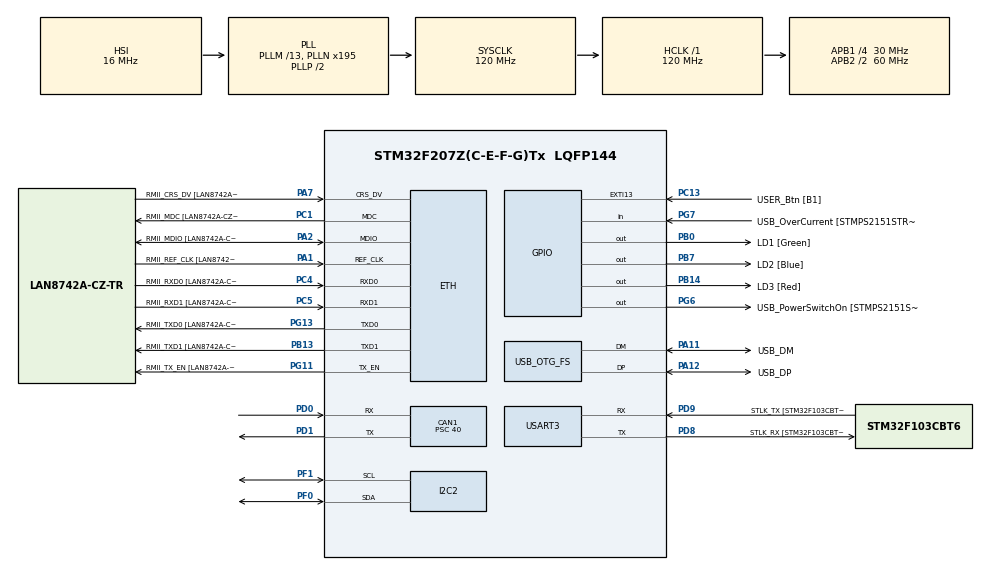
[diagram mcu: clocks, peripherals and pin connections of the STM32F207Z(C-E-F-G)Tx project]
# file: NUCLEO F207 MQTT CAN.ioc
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CAN1.BS1=CAN_BS1_12TQ
CAN1.BS2=CAN_BS2_2TQ
CAN1.CalculateBaudRate=49999
CAN1.CalculateTimeBit=20000
CAN1.CalculateTimeQuantum=1333.3333333333335
CAN1.Prescaler=40
CAN1.SJW=CAN_SJW_1TQ
ETH.MediaInterface=ETH_MEDIA_INTERFACE_RMII
ETH.PHY_Name=LAN8742A_PHY_ADDRESS
ETH.PHY_Value=0
ETH.PhyAddress=0
FREERTOS.BinarySemaphores01=BinarySemButton,Static,BinarySemButtonControlBlock;BinarySemLCD,Static,BinarySemLCDControlBlock
FREERTOS.HEAP_NUMBER=3
FREERTOS.Mutexes01=logMutex,Static,logMutexControlBlock;putMqttMutex,Static,putMqttMutexControlBlock
FREERTOS.Queues01=QueueRxCan,32,32,1,Static,QueueRxCanBuffer,QueueRxCanControlBlock;QueueTxMqtt,16,100,1,Static,QueueTxMqttBuffer,QueueTxMqttControlBlock;QueueTxCan,32,32,1,Static,QueueTxCanBuffer,QueueTxCanControlBlock
FREERTOS.Tasks01=defaultTask,24,1024,StartDefaultTask,Default,NULL,Static,defaultTaskBuffer,defaultTaskControlBlock;TaskButton,8,1024,StartTaskButton,Default,NULL,Static,TaskButtonBuffer,TaskButtonControlBlock;TaskLCD,8,1024,StartTaskLCD,Default,NULL,Static,TaskLCDBuffer,TaskLCDControlBlock;TaskCan,24,1024,StartTaskCan,Default,NULL,Static,TaskCanBuffer,TaskCanControlBlock;TaskMQTT,25,1024,StartTaskMQTT,Default,NULL,Static,TaskMQTTBuffer,TaskMQTTControlBlock
FREERTOS.configCHECK_FOR_STACK_OVERFLOW=2
FREERTOS.configGENERATE_RUN_TIME_STATS=1
FREERTOS.configMINIMAL_STACK_SIZE=1024
FREERTOS.configTIMER_TASK_STACK_DEPTH=2048
FREERTOS.configTOTAL_HEAP_SIZE=0x2000
FREERTOS.configUSE_NEWLIB_REENTRANT=1
FREERTOS.configUSE_STATS_FORMATTING_FUNCTIONS=1
IWDG.Prescaler=IWDG_PRESCALER_32
IWDG.Reload=4095
LWIP.API_LIB_DEBUG=LWIP_DBG_OFF
LWIP.API_MSG_DEBUG=LWIP_DBG_OFF
LWIP.CMSIS_VERSION-Enabled=1
LWIP.DEFAULT_ACCEPTMBOX_SIZE=12
LWIP.DEFAULT_THREAD_PRIO=24
LWIP.DEFAULT_THREAD_STACKSIZE=1024
LWIP.ETHARP_DEBUG=LWIP_DBG_OFF
LWIP.ETHARP_STATS=0
LWIP.GATEWAY_ADDRESS=192.168.001.001
LWIP.HTTPD_DEBUG=LWIP_DBG_OFF
LWIP.HTTPD_DEBUG_TIMING=LWIP_DBG_OFF
LWIP.ICMP_DEBUG=LWIP_DBG_OFF
LWIP.ICMP_STATS=0
LWIP.IGMP_DEBUG=LWIP_DBG_OFF
LWIP.INET_DEBUG=LWIP_DBG_OFF
LWIP.IPFRAG_STATS=0
LWIP.IP_ADDRESS=192.168.001.101
LWIP.IP_DEBUG=LWIP_DBG_OFF
LWIP.IP_REASS_DEBUG=LWIP_DBG_OFF
LWIP.IP_STATS=0
LWIP.LINK_STATS=0
LWIP.LWIP_DBG_MIN_LEVEL=LWIP_DBG_LEVEL_WARNING
LWIP.LWIP_DBG_TYPES_ON=LWIP_DBG_ON
LWIP.LWIP_DHCP=0
LWIP.LWIP_HTTPD=1
LWIP.LWIP_HTTPD_CGI=1
LWIP.LWIP_HTTPD_CUSTOM_FILES=0
LWIP.LWIP_HTTPD_SSI=1
LWIP.LWIP_SNTP=1
LWIP.LWIP_STATS=1
LWIP.LWIP_STATS_DISPLAY=1
LWIP.MEMP_DEBUG=LWIP_DBG_ON
LWIP.MEMP_MEM_MALLOC=0
LWIP.MEMP_NUM_SYS_TIMEOUT=13
LWIP.MEMP_NUM_TCPIP_MSG_INPKT=16
LWIP.MEMP_NUM_TCP_PCB=40
LWIP.MEMP_NUM_TCP_PCB_LISTEN=16
LWIP.MEMP_NUM_UDP_PCB=200
LWIP.MEM_DEBUG=LWIP_DBG_ON
LWIP.MEM_LIBC_MALLOC=0
LWIP.MEM_SIZE=5*1024
LWIP.NETIF_DEBUG=LWIP_DBG_OFF
LWIP.NETMASK_ADDRESS=255.255.255.000
LWIP.PBUF_DEBUG=LWIP_DBG_OFF
LWIP.RAW_DEBUG=LWIP_DBG_OFF
LWIP.RECV_BUFSIZE_DEFAULT=2147483647
LWIP.SLIPIF_THREAD_STACKSIZE=1024
LWIP.SOCKETS_DEBUG=LWIP_DBG_OFF
LWIP.SYS_DEBUG=LWIP_DBG_ON
LWIP.TCPIP_MBOX_SIZE=12
LWIP.TCPIP_THREAD_STACKSIZE=1024
LWIP.TCP_CWND_DEBUG=LWIP_DBG_OFF
LWIP.TCP_DEBUG=LWIP_DBG_OFF
LWIP.TCP_FR_DEBUG=LWIP_DBG_OFF
LWIP.TCP_INPUT_DEBUG=LWIP_DBG_OFF
LWIP.TCP_OUTPUT_DEBUG=LWIP_DBG_OFF
LWIP.TCP_RTO_DEBUG=LWIP_DBG_OFF
LWIP.TCP_WND_DEBUG=LWIP_DBG_OFF
LWIP.TIMERS_DEBUG=LWIP_DBG_OFF
LWIP.UDP_STATS=0
LWIP.Version=v2.0.3_Cube
Mcu.Family=STM32F2
Mcu.Name=STM32F207Z(C-E-F-G)Tx
Mcu.Package=LQFP144
NVIC.CAN1_RX0_IRQn=true\:5\:0\:false\:false\:true\:true\:true\:true\:true
NVIC.ETH_IRQn=true\:5\:0\:false\:false\:true\:true\:false\:true\:true
NVIC.ETH_WKUP_IRQn=true\:5\:0\:false\:false\:true\:true\:true\:true\:true
NVIC.EXTI15_10_IRQn=true\:5\:0\:false\:false\:true\:true\:true\:true\:true
NVIC.OTG_FS_IRQn=true\:5\:0\:false\:false\:true\:true\:false\:true\:true
NVIC.PriorityGroup=NVIC_PRIORITYGROUP_4
NVIC.TIM1_UP_TIM10_IRQn=true\:15\:0\:false\:false\:true\:false\:false\:true\:true
NVIC.TimeBase=TIM1_UP_TIM10_IRQn
NVIC.TimeBaseIP=TIM1
PA1.GPIO_Label=RMII_REF_CLK [LAN8742A-CZ-TR_REFCLK0]
PA1.Mode=RMII
PA1.Signal=ETH_REF_CLK
PA10.GPIO_Label=USB_ID
PA10.Signal=USB_OTG_FS_ID
PA11.GPIO_Label=USB_DM
PA11.Mode=Device_Only
PA11.Signal=USB_OTG_FS_DM
PA12.GPIO_Label=USB_DP
PA12.Mode=Device_Only
PA12.Signal=USB_OTG_FS_DP
PA13.GPIO_Label=TMS
PA13.Mode=Trace_Asynchronous_SW
PA13.Signal=SYS_JTMS-SWDIO
PA14.GPIO_Label=TCK
PA14.Mode=Trace_Asynchronous_SW
PA14.Signal=SYS_JTCK-SWCLK
PA2.GPIO_Label=RMII_MDIO [LAN8742A-CZ-TR_MDIO]
PA2.Mode=RMII
PA2.Signal=ETH_MDIO
PA7.GPIO_Label=RMII_CRS_DV [LAN8742A-CZ-TR_CRS_DV]
PA7.Mode=RMII
PA7.Signal=ETH_CRS_DV
PA8.GPIO_Label=USB_SOF [TP1]
PA8.Signal=USB_OTG_FS_SOF
PA9.GPIO_Label=USB_VBUS
PA9.Signal=USB_OTG_FS_VBUS
PB0.GPIO_Label=LD1 [Green]
PB0.Signal=GPIO_Output
PB13.GPIO_Label=RMII_TXD1 [LAN8742A-CZ-TR_TXD1]
PB13.Mode=RMII
PB13.Signal=ETH_TXD1
PB14.GPIO_Label=LD3 [Red]
PB14.GPIO_PuPd=GPIO_PULLUP
PB14.Signal=GPIO_Output
PB3.GPIO_Label=SWO
PB3.Mode=Trace_Asynchronous_SW
PB3.Signal=SYS_JTDO-SWO
PB7.GPIO_Label=LD2 [Blue]
PB7.GPIO_PuPd=GPIO_PULLUP
PB7.Signal=GPIO_Output
PC1.GPIO_Label=RMII_MDC [LAN8742A-CZ-TR_MDC]
PC1.Mode=RMII
PC1.Signal=ETH_MDC
PC13.GPIO_Label=USER_Btn [B1]
PC13.GPIO_ModeDefaultEXTI=GPIO_MODE_IT_RISING
PC13.Signal=GPXTI13
PC14-OSC32_IN.Mode=LSE-External-Oscillator
PC14-OSC32_IN.Signal=RCC_OSC32_IN
PC15-OSC32_OUT.Mode=LSE-External-Oscillator
PC15-OSC32_OUT.Signal=RCC_OSC32_OUT
PC4.GPIO_Label=RMII_RXD0 [LAN8742A-CZ-TR_RXD0]
PC4.Mode=RMII
PC4.Signal=ETH_RXD0
PC5.GPIO_Label=RMII_RXD1 [LAN8742A-CZ-TR_RXD1]
PC5.Mode=RMII
PC5.Signal=ETH_RXD1
PD0.GPIO_PuPd=GPIO_NOPULL
PD0.Mode=CAN_Activate
PD0.Signal=CAN1_RX
PD1.GPIO_PuPd=GPIO_NOPULL
PD1.Mode=CAN_Activate
PD1.Signal=CAN1_TX
PD8.GPIO_Label=STLK_RX [STM32F103CBT6_PA3]
PD8.Mode=Asynchronous
PD8.Signal=USART3_TX
PD9.GPIO_Label=STLK_TX [STM32F103CBT6_PA2]
PD9.Mode=Asynchronous
PD9.Signal=USART3_RX
PF0.GPIO_Pu=GPIO_PULLUP
PF0.Mode=I2C
PF0.Signal=I2C2_SDA
PF1.GPIO_Pu=GPIO_PULLUP
PF1.Mode=I2C
PF1.Signal=I2C2_SCL
PG11.GPIO_Label=RMII_TX_EN [LAN8742A-CZ-TR_TXEN]
PG11.Mode=RMII
PG11.Signal=ETH_TX_EN
PG13.GPIO_Label=RMII_TXD0 [LAN8742A-CZ-TR_TXD0]
PG13.Mode=RMII
PG13.Signal=ETH_TXD0
PG6.GPIO_Label=USB_PowerSwitchOn [STMPS2151STR_EN]
PG6.Signal=GPIO_Output
PG7.GPIO_Label=USB_OverCurrent [STMPS2151STR_FAULT]
PG7.Signal=GPIO_Input
PH0-OSC_IN.GPIO_Label=MCO [STM32F103CBT6_PA8]
PH0-OSC_IN.Mode=HSE-External-Clock-Source
PH0-OSC_IN.Signal=RCC_OSC_IN
PH1-OSC_OUT.Mode=HSE-External-Clock-Source
PH1-OSC_OUT.Signal=RCC_OSC_OUT
ProjectManager.HeapSize=0x2000
ProjectManager.StackSize=0x4000
ProjectManager.TargetToolchain=STM32CubeIDE
RCC.48MHZClocksFreq_Value=48000000
RCC.AHBFreq_Value=120000000
RCC.APB1CLKDivider=RCC_HCLK_DIV4
RCC.APB1Freq_Value=30000000
RCC.APB1TimFreq_Value=60000000
RCC.APB2CLKDivider=RCC_HCLK_DIV2
RCC.APB2Freq_Value=60000000
RCC.APB2TimFreq_Value=120000000
RCC.CortexFreq_Value=120000000
RCC.HCLKFreq_Value=120000000
RCC.HSE_VALUE=8000000
RCC.HSI_VALUE=16000000
RCC.PLLM=13
RCC.PLLMUL=RCC_PLL_MUL9
RCC.PLLN=195
RCC.PLLQ=5
RCC.PRESCALERUSB=RCC_USBCLKSOURCE_PLL_DIV1_5
RCC.SYSCLKFreq_VALUE=120000000
RCC.SYSCLKSource=RCC_SYSCLKSOURCE_PLLCLK
RCC.SYSCLKSourceVirtual=RCC_SYSCLKSOURCE_PLLCLK
RCC.USBFreq_Value=48000000
RCC.VCOOutputFreq_Value=240000000
USART3.VirtualMode=VM_ASYNC
USB_DEVICE.CLASS_NAME_FS=CDC
USB_DEVICE.PRODUCT_STRING_CDC_FS=STM32F207 Virtual ComPort
USB_DEVICE.USBD_DEBUG_LEVEL-CDC_FS=3
USB_DEVICE.VirtualMode-CDC_FS=Cdc
USB_DEVICE.VirtualModeFS=Cdc_FS
USB_OTG_FS.VirtualMode=Device_Only
VP_FREERTOS_VS_CMSIS_V2.Mode=CMSIS_V2
VP_IWDG_VS_IWDG.Mode=IWDG_Activate
VP_LWIP_VS_Enabled.Mode=Enabled
VP_SYS_VS_tim1.Mode=TIM1
VP_USB_DEVICE_VS_USB_DEVICE_CDC_FS.Mode=CDC_FS
board=NUCLEO-F207ZG

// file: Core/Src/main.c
/* USER CODE BEGIN Header */
/**
  ******************************************************************************
  * @file           : main.c
  * @brief          : Main program body
  ******************************************************************************
  * @attention
  *
  * <h2><center>&copy; Copyright (c) 2021 STMicroelectronics.
  * All rights reserved.</center></h2>
  *
  * This software component is licensed by ST under BSD 3-Clause license,
  * the "License"; You may not use this file except in compliance with the
  * License. You may obtain a copy of the License at:
  *                        opensource.org/licenses/BSD-3-Clause
  *
  ******************************************************************************
  *  Kalkulator tme quantum
  *  http://www.bittiming.can-wiki.info/
  ******************************************************************************
  */

/* Projekt się zawiesza po pewnym czasie nawet po kilunastu minutach wyskakuje do HardFault_Handler
 *
 * 10.05.2022 10:00 wykomentowane operacje lwip , httpd, mqtt, can, lcd i jest ok działa już 8000 sec ponad dwie godziny.
 * 10.05.2022 13:00 uruchomiono lcd, jest ok 6700 sec
 * 10.05.2022 13:00 uruchamiam can
 *
 *
 *
 */

//#define LWIP_PLATFORM_DIAG(message) printf(message)

//#define LWIP_DEBUG                      1
//#define MQTT_DEBUG											1

//#define LWIP_DBG_TYPES_ON    (LWIP_DBG_ON | LWIP_DBG_TRACE)

/* USER CODE END Header */
#include "main.h"
#include "cmsis_os.h"
#include "can.h"
#include "i2c.h"
#include "iwdg.h"
#include "lwip.h"
#include "usart.h"
#include "usb_device.h"
#include "gpio.h"

/* USER CODE BEGIN Includes */

#include "usbd_cdc_if.h"

/* USER CODE END Includes */

void SystemClock_Config(void);
void MX_FREERTOS_Init(void);

/* USER CODE BEGIN 0 */

// Zeby otwierał się USB wirtual com
// https://stackoverflow.com/questions/56490843/what-is-issue-with-stm32-virtual-com-port-i-can-not-open-it

/*
void send_char(char c)
{
	HAL_UART_Transmit(&huart3, (uint8_t*)&c, 1, 1000);
}

int __io_putchar(int c)
{
	send_char(c);
	return c;
}
*/

/*
int __io_putchar(int ch)
{
   CDC_Transmit_FS(ch,  1);
	 return ch;
}
*/

int _write(int file,char *ptr, int len)
{
	int DataIdx;
  CDC_Transmit_FS(ptr,  len);
	for(DataIdx= 0; DataIdx< len; DataIdx++)
	{
   //__io_putchar(*ptr++);
		ITM_SendChar(*ptr++);
	}
	return len;
}

/* USER CODE END 0 */

int main(void)
{

  /* MCU Configuration--------------------------------------------------------*/

  /* Reset of all peripherals, Initializes the Flash interface and the Systick. */
  HAL_Init();

  /* Configure the system clock */
  SystemClock_Config();

  /* USER CODE BEGIN SysInit */

	set_stime();

  /* USER CODE END SysInit */

  /* Initialize all configured peripherals */
  MX_GPIO_Init();
  MX_USART3_UART_Init();
  MX_CAN1_Init();
  MX_I2C2_Init();
  MX_IWDG_Init();

  /* Init scheduler */
  osKernelInitialize();  /* Call init function for freertos objects (in freertos.c) */
  MX_FREERTOS_Init();

  /* Start scheduler */
  osKernelStart();

  /* We should never get here as control is now taken by the scheduler */
  /* Infinite loop */
  while (1)
  {

  }
}

void SystemClock_Config(void)
{
  RCC_OscInitTypeDef RCC_OscInitStruct = {0};
  RCC_ClkInitTypeDef RCC_ClkInitStruct = {0};

  /** Initializes the RCC Oscillators according to the specified parameters
  * in the RCC_OscInitTypeDef structure.
  */
  RCC_OscInitStruct.OscillatorType = RCC_OSCILLATORTYPE_HSI|RCC_OSCILLATORTYPE_LSI;
  RCC_OscInitStruct.HSIState = RCC_HSI_ON;
  RCC_OscInitStruct.HSICalibrationValue = RCC_HSICALIBRATION_DEFAULT;
  RCC_OscInitStruct.LSIState = RCC_LSI_ON;
  RCC_OscInitStruct.PLL.PLLState = RCC_PLL_ON;
  RCC_OscInitStruct.PLL.PLLSource = RCC_PLLSOURCE_HSI;
  RCC_OscInitStruct.PLL.PLLM = 13;
  RCC_OscInitStruct.PLL.PLLN = 195;
  RCC_OscInitStruct.PLL.PLLP = RCC_PLLP_DIV2;
  RCC_OscInitStruct.PLL.PLLQ = 5;
  if (HAL_RCC_OscConfig(&RCC_OscInitStruct) != HAL_OK)
  {
    Error_Handler();
  }

  /** Initializes the CPU, AHB and APB buses clocks
  */
  RCC_ClkInitStruct.ClockType = RCC_CLOCKTYPE_HCLK|RCC_CLOCKTYPE_SYSCLK
                              |RCC_CLOCKTYPE_PCLK1|RCC_CLOCKTYPE_PCLK2;
  RCC_ClkInitStruct.SYSCLKSource = RCC_SYSCLKSOURCE_PLLCLK;
  RCC_ClkInitStruct.AHBCLKDivider = RCC_SYSCLK_DIV1;
  RCC_ClkInitStruct.APB1CLKDivider = RCC_HCLK_DIV4;
  RCC_ClkInitStruct.APB2CLKDivider = RCC_HCLK_DIV2;

  if (HAL_RCC_ClockConfig(&RCC_ClkInitStruct, FLASH_LATENCY_3) != HAL_OK)
  {
    Error_Handler();
  }
}

/* USER CODE BEGIN 4 */

void my_configASSERT(){
	printf("my_configASSERT\n");
	uint8_t i = 1;
	while (i)
	{
		i = 1;

	}
}

void vAssertCalled( unsigned long ulLine, const char * const pcFileName )
{
static portBASE_TYPE xPrinted = pdFALSE;
volatile uint32_t ulSetToNonZeroInDebuggerToContinue = 0;

    /* Parameters are not used. */
    ( void ) ulLine;
    ( void ) pcFileName;

    printf("vconfigASSERT file:%s, line:%d\n",pcFileName,ulLine);

 //   taskENTER_CRITICAL();
    {
        /* You can step out of this function to debug the assertion by using
        the debugger to set ulSetToNonZeroInDebuggerToContinue to a non-zero
        value. */
        while( ulSetToNonZeroInDebuggerToContinue == 0 )
        {
        }
    }
//    taskEXIT_CRITICAL();
}

/* USER CODE END 4 */

void HAL_TIM_PeriodElapsedCallback(TIM_HandleTypeDef *htim)
{
  if (htim->Instance == TIM1) {
    HAL_IncTick();
  }
}

void Error_Handler(void)
{
  /* USER CODE BEGIN Error_Handler_Debug */
  /* User can add his own implementation to report the HAL error return state */
	printf("Error_Hendle\n");

//stats_display();
  __disable_irq();
  while (1)
  {
  }
  /* USER CODE END Error_Handler_Debug */
}

#ifdef  USE_FULL_ASSERT
/**
  * @brief  Reports the name of the source file and the source line number
  *         where the assert_param error has occurred.
  * @param  file: pointer to the source file name
  * @param  line: assert_param error line source number
  * @retval None
  */
void assert_failed(uint8_t *file, uint32_t line)
{
  /* USER CODE BEGIN 6 */
  /* User can add his own implementation to report the file name and line number,
     ex: printf("Wrong parameters value: file %s on line %d\r\n", file, line) */
  printf("Wrong parameters value: file %s on line %d\r\n", file, line);
  /* USER CODE END 6 */
}
#endif /* USE_FULL_ASSERT */

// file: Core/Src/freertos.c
/* USER CODE BEGIN Header */
/**
 ******************************************************************************
 * File Name          : freertos.c
 * Description        : Code for freertos applications
 ******************************************************************************
 * @attention
 *
 * <h2><center>&copy; Copyright (c) 2021 STMicroelectronics.
 * All rights reserved.</center></h2>
 *
 * This software component is licensed by ST under Ultimate Liberty license
 * SLA0044, the "License"; You may not use this file except in compliance with
 * the License. You may obtain a copy of the License at:
 *                             www.st.com/SLA0044
 *
 ******************************************************************************
 */
/* USER CODE END Header */

#include "FreeRTOS.h"
#include "task.h"
#include "main.h"
#include "cmsis_os.h"

/* USER CODE BEGIN Includes */
#include "stm32f2xx_hal.h"
#include "stdio.h"
#include "my_log.h"
#include "my_can.h"
#include "iwdg.h"
#include "mqtt.h"
#include "my_mqtt.h"
//#include "eeprom.h"
#include "httpd.h"
#include "my_httpd.h"

#include "ssd1306.h"
#include "netif.h"
#include "string.h"

/* USER CODE END Includes */

typedef StaticTask_t osStaticThreadDef_t;
typedef StaticQueue_t osStaticMessageQDef_t;
typedef StaticSemaphore_t osStaticMutexDef_t;
typedef StaticSemaphore_t osStaticSemaphoreDef_t;
/* USER CODE BEGIN PTD */

// ostatnia zajeta komorka FLASH w Buider Analizer to impure_data 0x0801ed98  96 bajtów (0x60)  = 1 EDF8

//VirtAddVarTab[NB_OF_VAR] = {0x5555, 0x6666, 0x7777};
//uint16_t resets = 0;

uint8_t LWIP_Init_flag = 0;

/* USER CODE END PTD */

/* Definitions for defaultTask */
osThreadId_t defaultTaskHandle;
uint32_t defaultTaskBuffer[ 1024 ];
osStaticThreadDef_t defaultTaskControlBlock;
const osThreadAttr_t defaultTask_attributes = {
  .name = "defaultTask",
  .cb_mem = &defaultTaskControlBlock,
  .cb_size = sizeof(defaultTaskControlBlock),
  .stack_mem = &defaultTaskBuffer[0],
  .stack_size = sizeof(defaultTaskBuffer),
  .priority = (osPriority_t) osPriorityNormal,
};
/* Definitions for TaskButton */
osThreadId_t TaskButtonHandle;
uint32_t TaskButtonBuffer[ 1024 ];
osStaticThreadDef_t TaskButtonControlBlock;
const osThreadAttr_t TaskButton_attributes = {
  .name = "TaskButton",
  .cb_mem = &TaskButtonControlBlock,
  .cb_size = sizeof(TaskButtonControlBlock),
  .stack_mem = &TaskButtonBuffer[0],
  .stack_size = sizeof(TaskButtonBuffer),
  .priority = (osPriority_t) osPriorityLow,
};
/* Definitions for TaskLCD */
osThreadId_t TaskLCDHandle;
uint32_t TaskLCDBuffer[ 1024 ];
osStaticThreadDef_t TaskLCDControlBlock;
const osThreadAttr_t TaskLCD_attributes = {
  .name = "TaskLCD",
  .cb_mem = &TaskLCDControlBlock,
  .cb_size = sizeof(TaskLCDControlBlock),
  .stack_mem = &TaskLCDBuffer[0],
  .stack_size = sizeof(TaskLCDBuffer),
  .priority = (osPriority_t) osPriorityLow,
};
/* Definitions for TaskCan */
osThreadId_t TaskCanHandle;
uint32_t TaskCanBuffer[ 1024 ];
osStaticThreadDef_t TaskCanControlBlock;
const osThreadAttr_t TaskCan_attributes = {
  .name = "TaskCan",
  .cb_mem = &TaskCanControlBlock,
  .cb_size = sizeof(TaskCanControlBlock),
  .stack_mem = &TaskCanBuffer[0],
  .stack_size = sizeof(TaskCanBuffer),
  .priority = (osPriority_t) osPriorityNormal,
};
/* Definitions for TaskMQTT */
osThreadId_t TaskMQTTHandle;
uint32_t TaskMQTTBuffer[ 1024 ];
osStaticThreadDef_t TaskMQTTControlBlock;
const osThreadAttr_t TaskMQTT_attributes = {
  .name = "TaskMQTT",
  .cb_mem = &TaskMQTTControlBlock,
  .cb_size = sizeof(TaskMQTTControlBlock),
  .stack_mem = &TaskMQTTBuffer[0],
  .stack_size = sizeof(TaskMQTTBuffer),
  .priority = (osPriority_t) osPriorityNormal1,
};
/* Definitions for QueueRxCan */
osMessageQueueId_t QueueRxCanHandle;
uint8_t QueueRxCanBuffer[ 32 * 32 ];
osStaticMessageQDef_t QueueRxCanControlBlock;
const osMessageQueueAttr_t QueueRxCan_attributes = {
  .name = "QueueRxCan",
  .cb_mem = &QueueRxCanControlBlock,
  .cb_size = sizeof(QueueRxCanControlBlock),
  .mq_mem = &QueueRxCanBuffer,
  .mq_size = sizeof(QueueRxCanBuffer)
};
/* Definitions for QueueTxMqtt */
osMessageQueueId_t QueueTxMqttHandle;
uint8_t QueueTxMqttBuffer[ 16 * 100 ];
osStaticMessageQDef_t QueueTxMqttControlBlock;
const osMessageQueueAttr_t QueueTxMqtt_attributes = {
  .name = "QueueTxMqtt",
  .cb_mem = &QueueTxMqttControlBlock,
  .cb_size = sizeof(QueueTxMqttControlBlock),
  .mq_mem = &QueueTxMqttBuffer,
  .mq_size = sizeof(QueueTxMqttBuffer)
};
/* Definitions for QueueTxCan */
osMessageQueueId_t QueueTxCanHandle;
uint8_t QueueTxCanBuffer[ 32 * 32 ];
osStaticMessageQDef_t QueueTxCanControlBlock;
const osMessageQueueAttr_t QueueTxCan_attributes = {
  .name = "QueueTxCan",
  .cb_mem = &QueueTxCanControlBlock,
  .cb_size = sizeof(QueueTxCanControlBlock),
  .mq_mem = &QueueTxCanBuffer,
  .mq_size = sizeof(QueueTxCanBuffer)
};
/* Definitions for logMutex */
osMutexId_t logMutexHandle;
osStaticMutexDef_t logMutexControlBlock;
const osMutexAttr_t logMutex_attributes = {
  .name = "logMutex",
  .cb_mem = &logMutexControlBlock,
  .cb_size = sizeof(logMutexControlBlock),
};
/* Definitions for putMqttMutex */
osMutexId_t putMqttMutexHandle;
osStaticMutexDef_t putMqttMutexControlBlock;
const osMutexAttr_t putMqttMutex_attributes = {
  .name = "putMqttMutex",
  .cb_mem = &putMqttMutexControlBlock,
  .cb_size = sizeof(putMqttMutexControlBlock),
};
/* Definitions for BinarySemButton */
osSemaphoreId_t BinarySemButtonHandle;
osStaticSemaphoreDef_t BinarySemButtonControlBlock;
const osSemaphoreAttr_t BinarySemButton_attributes = {
  .name = "BinarySemButton",
  .cb_mem = &BinarySemButtonControlBlock,
  .cb_size = sizeof(BinarySemButtonControlBlock),
};
/* Definitions for BinarySemLCD */
osSemaphoreId_t BinarySemLCDHandle;
osStaticSemaphoreDef_t BinarySemLCDControlBlock;
const osSemaphoreAttr_t BinarySemLCD_attributes = {
  .name = "BinarySemLCD",
  .cb_mem = &BinarySemLCDControlBlock,
  .cb_size = sizeof(BinarySemLCDControlBlock),
};

/* USER CODE BEGIN FunctionPrototypes */

void HAL_GPIO_EXTI_Callback(uint16_t GPIO_Pin) {
	if (GPIO_Pin == USER_Btn_Pin) {
		osSemaphoreRelease(BinarySemButtonHandle);
	}
}

void HAL_CAN_RxFifo0MsgPendingCallback(CAN_HandleTypeDef *hcan) {
	MsgQRxCan_t msg_can;
	osStatus_t status;
	HAL_CAN_GetRxMessage(&hcan1, CAN_RX_FIFO0, &msg_can.RxHeader, &msg_can.RxData);
	status = osMessageQueuePut(QueueRxCanHandle, &msg_can, 0U, 0U);
	if (status != osOK) {
		 char s[LOG_LEN];
		 sprintf(s, "QPut can err %d\n", status);
		 log_put(s);
	}
}

/* USER CODE END FunctionPrototypes */

void StartDefaultTask(void *argument);
void StartTaskButton(void *argument);
void StartTaskLCD(void *argument);
void StartTaskCan(void *argument);
void StartTaskMQTT(void *argument);

extern void MX_LWIP_Init(void);
extern void MX_USB_DEVICE_Init(void);
void MX_FREERTOS_Init(void); /* (MISRA C 2004 rule 8.1) */

/* Hook prototypes */
void configureTimerForRunTimeStats(void);
unsigned long getRunTimeCounterValue(void);
void vApplicationStackOverflowHook(xTaskHandle xTask, signed char *pcTaskName);

/* USER CODE BEGIN 1 */
/* Functions needed when configGENERATE_RUN_TIME_STATS is on */
__weak void configureTimerForRunTimeStats(void)
{

}

__weak unsigned long getRunTimeCounterValue(void)
{
return 0;
}
/* USER CODE END 1 */

/* USER CODE BEGIN 4 */
void vApplicationStackOverflowHook(xTaskHandle xTask, signed char *pcTaskName)
{
   /* Run time stack overflow checking is performed if
   configCHECK_FOR_STACK_OVERFLOW is defined to 1 or 2. This hook function is
   called if a stack overflow is detected. */
}
/* USER CODE END 4 */

void MX_FREERTOS_Init(void) {
  /* Create the mutex(es) */
  /* creation of logMutex */
  logMutexHandle = osMutexNew(&logMutex_attributes);

  /* creation of putMqttMutex */
  putMqttMutexHandle = osMutexNew(&putMqttMutex_attributes);

  /* Create the semaphores(s) */
  /* creation of BinarySemButton */
  BinarySemButtonHandle = osSemaphoreNew(1, 1, &BinarySemButton_attributes);

  /* creation of BinarySemLCD */
  BinarySemLCDHandle = osSemaphoreNew(1, 1, &BinarySemLCD_attributes);

  /* Create the queue(s) */
  /* creation of QueueRxCan */
  QueueRxCanHandle = osMessageQueueNew (32, 32, &QueueRxCan_attributes);

  /* creation of QueueTxMqtt */
  QueueTxMqttHandle = osMessageQueueNew (16, 100, &QueueTxMqtt_attributes);

  /* creation of QueueTxCan */
  QueueTxCanHandle = osMessageQueueNew (32, 32, &QueueTxCan_attributes);

  /* Create the thread(s) */
  /* creation of defaultTask */
  defaultTaskHandle = osThreadNew(StartDefaultTask, NULL, &defaultTask_attributes);

  /* creation of TaskButton */
  TaskButtonHandle = osThreadNew(StartTaskButton, NULL, &TaskButton_attributes);

  /* creation of TaskLCD */
  TaskLCDHandle = osThreadNew(StartTaskLCD, NULL, &TaskLCD_attributes);

  /* creation of TaskCan */
  TaskCanHandle = osThreadNew(StartTaskCan, NULL, &TaskCan_attributes);

  /* creation of TaskMQTT */
  TaskMQTTHandle = osThreadNew(StartTaskMQTT, NULL, &TaskMQTT_attributes);

}

void StartDefaultTask(void *argument)
{
  /* init code for LWIP */
  MX_LWIP_Init();

  /* init code for USB_DEVICE */
  MX_USB_DEVICE_Init();
  /* USER CODE BEGIN StartDefaultTask */
	/* Infinite loop */

	httpd_init();
	myCGIinit();
	mySSIinit();

	osDelay(1000);
  LWIP_Init_flag = 1;

/*deb*/
	{
	extern struct netif gnetif;
	u32_t local_IP = gnetif.ip_addr.addr;
	char s[LOG_LEN];
	sprintf(s, "IP %lu.%lu.%lu.%lu", (local_IP & 0xff), ((local_IP >> 8) & 0xff),
			((local_IP >> 16) & 0xff), (local_IP >> 24));
	log_put(s);
	}

/**/

//	stats_display();

	for (;;) {
		HAL_GPIO_TogglePin(LD1_GPIO_Port, LD1_Pin);
		set_stime();
/*deb*/
   my_mqtt_to_Queue("stm32/licz", slicz);
   my_mqtt_to_Queue("stm32/czas", stime);
/**/
		log_put("");

		HAL_IWDG_Refresh(&hiwdg);
		osDelay(1000);
	}
  /* USER CODE END StartDefaultTask */
}

void StartTaskButton(void *argument)
{
  /* USER CODE BEGIN StartTaskButton */
	/* Infinite loop */
	for (;;) {
		osSemaphoreAcquire(BinarySemButtonHandle, osWaitForever);
		LD1ON = !LD1ON;
		HAL_GPIO_WritePin(LD3_GPIO_Port, LD3_Pin, LD1ON);
//		char s[LOG_LEN];
//		sprintf(s, "Led2 %d", LD1ON);
//		log_put(s);

		osDelay(1);

		//mqtt_my_publish(&mqtt_client, "Led2", (char)LD1ON);

	}
  /* USER CODE END StartTaskButton */
}

void StartTaskLCD(void *argument)
{
  /* USER CODE BEGIN StartTaskLCD */
	/* Infinite loop */

//deb
	ssd1306_Init();

	char _s[LOG_LEN];
	uint8_t l;

	for (;;) {

//		osSemaphoreAcquire(myBinarySemLCDHandle, osWaitForever);

/*deb*/
		for (uint8_t i = 0; i < LOG_MAX; i++) {
			ssd1306_SetCursor(0, 9 * i);
			strcpy(_s, log_items[ILinia(i)]);
			l = strlen(_s);
			memset(&_s[l-1], ' ', LOG_LEN - l);
			_s[LOG_LEN-1] = '\0';
			ssd1306_WriteString(_s, Font_6x8, White);
		}
		ssd1306_UpdateScreen();
/* */
		osDelay(1000);
	}
  /* USER CODE END StartTaskLCD */
}

void StartTaskCan(void *argument)
{
  /* USER CODE BEGIN StartTaskCan */
	/* Infinite loop */

	//deb

	while(1) {
		if (LWIP_Init_flag)
		  break;
		osDelay(10);
	}

	CanConfig();

	osStatus_t status;

	for (;;) {
		{
			MsgQRxCan_t msg_RxCan;
			status = osMessageQueueGet(QueueRxCanHandle, &msg_RxCan, NULL, 0);
			if (status == osOK) {
				Can_RX(&msg_RxCan);
			}
		}
		{
			MsgQTxCan_t msg_TxCan;
			status = osMessageQueueGet(QueueTxCanHandle, &msg_TxCan, NULL, 0);
			if (status == osOK) {
				my_can_Tx(&msg_TxCan);
		  }
		}
		osDelay(1);
	}
  /* USER CODE END StartTaskCan */
}

void StartTaskMQTT(void *argument)
{
  /* USER CODE BEGIN StartTaskMQTT */

	while(1) {
		if (LWIP_Init_flag)
		  break;
		osDelay(10);
	}

	my_mqtt_do_connect(&mqtt_client);

  /* Infinite loop */
  for(;;)
  {
  	if (mqtt_client_is_connected(&mqtt_client)){
  		osStatus_t status;
  		mqtt_msg__t mqtt_msg;

			status = osMessageQueueGet(QueueTxMqttHandle, &mqtt_msg, NULL, 0U); // wait for message
			if (status == osOK)
				my_mqtt_publish(&mqtt_client, mqtt_msg.topic, mqtt_msg.value);
		} else {
//			log_put("mqtt not cone.");
 // 		my_mqtt_do_connect(&mqtt_client);
		}
    osDelay(1);
  }
  /* USER CODE END StartTaskMQTT */
}
